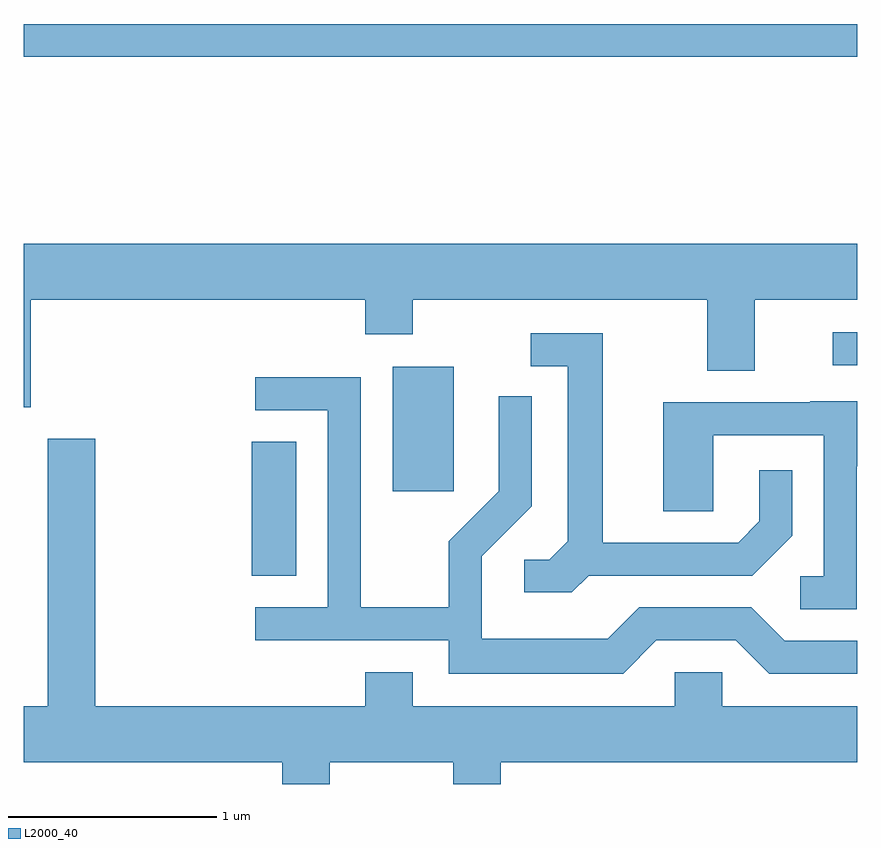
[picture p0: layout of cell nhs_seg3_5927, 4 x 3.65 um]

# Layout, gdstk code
import gdstk
lib = gdstk.Library(unit=1e-6, precision=1e-09)
def R(c, l, rs):  # rectangles x0, y0, x1, y1
    for r in rs: c.add(gdstk.rectangle(r[:2], r[2:], *l))
def P(c, l, *ps):  # polygons
    for p in ps: c.add(gdstk.Polygon(p, *l))
L2000_40 = (2000, 40)

nhs_seg3_5927 = lib.new_cell('nhs_seg3_5927')
R(nhs_seg3_5927, L2000_40, [(360.706,1146.891,360.919,1147.534), (361.381,1147.296,361.674,1147.894), (363.493,1147.901,363.611,1148.059), (359.611,1149.381,363.611,1149.539)])
P(nhs_seg3_5927, L2000_40, [(359.644,1148.216),(361.251,1148.216),(361.251,1148.051),(361.479,1148.051),(361.479,1148.216),(362.891,1148.216),(362.891,1147.876),(363.119,1147.876),(363.119,1148.216),(363.611,1148.216),(363.611,1148.484),(359.611,1148.484),(359.611,1147.701),(359.644,1147.701)],
  [(362.322,1146.891),(363.107,1146.891),(363.299,1147.084),(363.299,1147.398),(363.141,1147.398),(363.141,1147.152),(363.039,1147.049),(362.389,1147.049),(362.389,1148.054),(362.043,1148.054),(362.043,1147.896),(362.221,1147.896),(362.221,1147.057),(362.134,1146.969),(362.013,1146.969),(362.013,1146.811),(362.242,1146.811)],
  [(362.647,1146.581),(363.029,1146.581),(363.189,1146.421),(363.611,1146.421),(363.611,1146.579),(363.262,1146.579),(363.102,1146.739),(362.564,1146.739),(362.414,1146.589),(361.809,1146.589),(361.809,1146.984),(362.049,1147.224),(362.049,1147.753),(361.891,1147.753),(361.891,1147.297),(361.651,1147.057),(361.651,1146.739),(361.229,1146.739),(361.229,1147.844),(360.723,1147.844),(360.723,1147.686),(361.071,1147.686),(361.071,1146.739),(360.723,1146.739),(360.723,1146.581),(361.651,1146.581),(361.651,1146.421),(362.487,1146.421)],
  [(363.609,1147.416),(363.611,1147.416),(363.611,1147.729),(363.385,1147.729),(363.385,1147.724),(362.681,1147.724),(362.681,1147.201),(362.919,1147.201),(362.919,1147.566),(363.451,1147.566),(363.451,1146.889),(363.338,1146.889),(363.338,1146.731),(363.609,1146.731)],
  [(361.079,1145.996),(361.671,1145.996),(361.671,1145.892),(361.899,1145.892),(361.899,1145.996),(363.611,1145.996),(363.611,1146.264),(362.964,1146.264),(362.964,1146.429),(362.736,1146.429),(362.736,1146.264),(361.479,1146.264),(361.479,1146.429),(361.251,1146.429),(361.251,1146.264),(359.954,1146.264),(359.954,1147.549),(359.726,1147.549),(359.726,1146.264),(359.611,1146.264),(359.611,1145.996),(360.851,1145.996),(360.851,1145.892),(361.079,1145.892)])

lib.write_gds('nhs_seg3_5927.gds')
